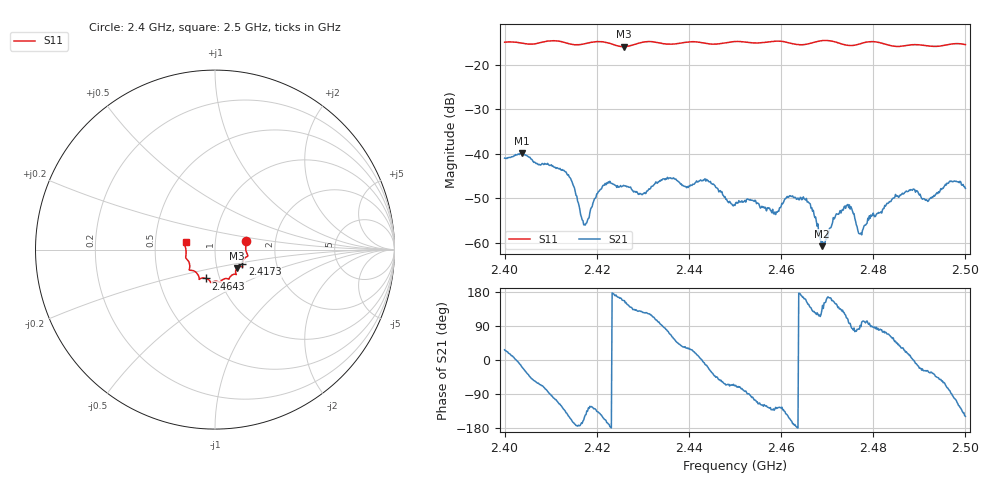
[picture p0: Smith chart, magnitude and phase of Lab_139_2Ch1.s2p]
# Hz S RI R 50
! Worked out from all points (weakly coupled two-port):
!   601 points, 2.4 GHz to 2.5 GHz, reference 50 ohm
!   highest |S21| = -39.89 dB at 2.4037 GHz (marker M1); lowest = -60.8 dB at 2.4688 GHz (marker M2)
!   lowest |S11| = -15.9 dB at 2.4258 GHz (marker M3), VSWR 1.38, Z = 62.3 - j13.3 ohm
!   |S11| at or under -10 dB: start of sweep to end of sweep
!   S12 and S22 are empty: the file has one direction only
!   S11 on the Smith chart (normalised r, x): 2.4 GHz: 1.41, +0.14; 2.4173 GHz: 1.34, -0.23; 2.4643 GHz: 0.86, -0.28; 2.5 GHz: 0.72, +0.06
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2.4e9  0.1731 0.0489  0.00797 0.00403  0 0  0 0
2.403667e9  0.1733 0.0291  0.00968 -0.00296  0 0  0 0
2.413333e9  0.1712 -0.0429  -0.00473 -0.00407  0 0  0 0
2.416667e9  0.1528 -0.0741  -0.00189 -0.000464  0 0  0 0
2.417333e9  0.1519 -0.0818  -0.0014 -0.000781  0 0  0 0
2.421667e9  0.1529 -0.0961  -0.00406 -0.00175  0 0  0 0
2.425833e9  0.1218 -0.1037  -0.00406 0.00174  0 0  0 0
2.4295e9  0.1163 -0.1345  -0.0022 0.00279  0 0  0 0
2.433333e9  0.1126 -0.1373  -0.000859 0.00475  0 0  0 0
2.443833e9  0.0646 -0.1612  0.005 -0.00123  0 0  0 0
2.45e9  0.0286 -0.1809  0.000998 -0.00242  0 0  0 0
2.458833e9  -0.0216 -0.1836  -0.00118 -0.0017  0 0  0 0
2.4615e9  -0.0279 -0.1756  -0.00273 -0.00171  0 0  0 0
2.464333e9  -0.05 -0.1607  -0.00316 0.000527  0 0  0 0
2.466667e9  -0.076 -0.1591  -0.00168 0.00181  0 0  0 0
2.468833e9  -0.0876 -0.1656  -0.000588 0.000698  0 0  0 0
2.474e9  -0.0975 -0.1361  -0.00116 0.00213  0 0  0 0
2.477167e9  -0.1279 -0.1159  -2.92e-05 0.00125  0 0  0 0
2.483333e9  -0.1406 -0.0898  0.00103 0.0026  0 0  0 0
2.491833e9  -0.1613 -0.0272  0.00256 -0.00139  0 0  0 0
2.497e9  -0.1695 0.0274  0.000105 -0.00492  0 0  0 0
2.5e9  -0.1637 0.0427  -0.00349 -0.00211  0 0  0 0
